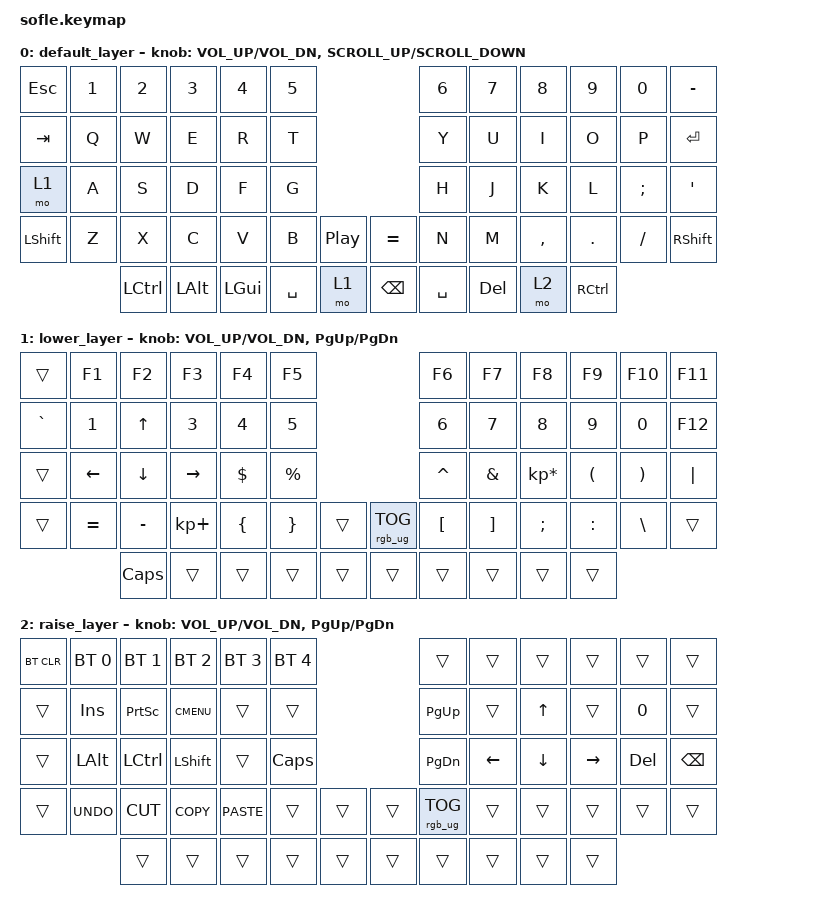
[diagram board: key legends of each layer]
/*
 * Copyright (c) 2020 The ZMK Contributors
 *
 * SPDX-License-Identifier: MIT
 */

#include <behaviors.dtsi>
#include <dt-bindings/zmk/bt.h>
#include <dt-bindings/zmk/keys.h>
#include <dt-bindings/zmk/rgb.h>

/ {
    keymap {
        compatible = "zmk,keymap";

        default_layer {
            // ------------------------------------------------------------------------------------------------------------
            // |  ESC  |  1  |  2  |  3   |  4   |  5   |                   |  6   |  7    |  8    |  9   |   0   |   -   |
            // |  TAB  |  Q  |  W  |  E   |  R   |  T   |                   |  Y   |  U    |  I    |  O   |   P   | ENTER |
            // | LCTRL |  A  |  S  |  D   |  F   |  G   |                   |  H   |  J    |  K    |  L   |   ;   |   '   |
            // | SHIFT |  Z  |  X  |  C   |  V   |  B   |  PLAY  |  |   =   |  N   |  M    |  ,    |  .   |   /   | SHIFT |
            //               | ALT | ALT  | GUI  | SPACE|  LOWER |  | BSPC  | SPACE|  DEL  | RAISE | RCTRL|

            bindings = <
&kp ESC    &kp N1  &kp N2            &kp N3    &kp N4    &kp N5                            &kp N6     &kp N7   &kp N8     &kp N9     &kp N0    &kp MINUS
&kp TAB    &kp Q   &kp W             &kp E     &kp R     &kp T                             &kp Y      &kp U    &kp I      &kp O      &kp P     &kp ENTER
&mo 1      &kp A   &kp S             &kp D     &kp F     &kp G                             &kp H      &kp J    &kp K      &kp L      &kp SEMI  &kp SQT
&kp LSHFT  &kp Z   &kp X             &kp C     &kp V     &kp B      &kp C_PP    &kp EQUAL  &kp N      &kp M    &kp COMMA  &kp DOT    &kp FSLH  &kp RSHFT
                   &kp LEFT_CONTROL  &kp LALT  &kp LGUI  &kp SPACE  &mo 1       &kp BSPC   &kp SPACE  &kp DEL  &mo 2      &kp RCTRL
            >;

            sensor-bindings =
                <&inc_dec_kp C_VOL_UP C_VOL_DN>,
                <&inc_dec_kp K_SCROLL_UP K_SCROLL_DOWN>;
        };

        lower_layer {
            // TODO: Some binds are waiting for shifted keycode support.
            // ------------------------------------------------------------------------------------------------------------
            // |       |  F1 |  F2 |  F3  |  F4  |  F5  |                   |  F6  |  F7   |  F8   |  F9  |  F10  |  F11  |
            // | `     |   1 |  ^  |   3  |   4  |   5  |                   |   6  |   7   |   8   |   9  |    0  |  F12  |
            // |       |  <- |  v  |  ->  |  $   |  %   |                   |  ^   |  &    |  *    |  (   |   )   |   |   |
            // |       |  =  |  -  |  +   |  {   |  }   |        |  |       |  [   |  ]    |  ;    |  :   |   \   |       |
            //               |CAPS |      |      |      |        |  |       |      |       |       |      |

            bindings = <
&trans     &kp F1     &kp F2     &kp F3       &kp F4    &kp F5                                &kp F6     &kp F7    &kp F8           &kp F9     &kp F10   &kp F11
&kp GRAVE  &kp N1     &kp UP     &kp N3       &kp N4    &kp N5                                &kp N6     &kp N7    &kp N8           &kp N9     &kp N0    &kp F12
&trans     &kp LEFT   &kp DOWN   &kp RIGHT    &kp DLLR  &kp PRCNT                             &kp CARET  &kp AMPS  &kp KP_MULTIPLY  &kp LPAR   &kp RPAR  &kp PIPE
&trans     &kp EQUAL  &kp MINUS  &kp KP_PLUS  &kp LBRC  &kp RBRC   &trans    &rgb_ug RGB_TOG  &kp LBKT   &kp RBKT  &kp SEMI         &kp COLON  &kp BSLH  &trans
                      &kp CAPS   &trans       &trans    &trans     &trans    &trans           &trans     &trans    &trans           &trans
            >;

            sensor-bindings = <&inc_dec_kp C_VOL_UP C_VOL_DN &inc_dec_kp PG_UP PG_DN>;
        };

        raise_layer {
            // ------------------------------------------------------------------------------------------------------------
            // |BTCLR| BT1  | BT2  |  BT3  |  BT4  |  BT5 |                |      |      |       |      |       |       |
            // |     | INS  | PSCR | GUI   |       |      |                | PGUP |      |   ^   |      |       |       |
            // |     | ALT  | CTRL | SHIFT |       | CAPS |                | PGDN |   <- |   v   |  ->  |  DEL  | BKSPC |
            // |     | UNDO | CUT  | COPY  | PASTE |      |      |  |      |      |      |       |      |       |       |
            //              |      |       |       |      |      |  |      |      |      |       |      |

            bindings = <
&bt BT_CLR  &bt BT_SEL 0  &bt BT_SEL 1  &bt BT_SEL 2  &bt BT_SEL 3  &bt BT_SEL 4                    &trans           &trans    &trans    &trans     &trans   &trans
&trans      &kp INS       &kp PSCRN     &kp K_CMENU   &trans        &trans                          &kp PG_UP        &trans    &kp UP    &trans     &kp N0   &trans
&trans      &kp LALT      &kp LCTRL     &kp LSHFT     &trans        &kp CLCK                        &kp PG_DN        &kp LEFT  &kp DOWN  &kp RIGHT  &kp DEL  &kp BSPC
&trans      &kp K_UNDO    &kp K_CUT     &kp K_COPY    &kp K_PASTE   &trans        &trans    &trans  &rgb_ug RGB_TOG  &trans    &trans    &trans     &trans   &trans
                          &trans        &trans        &trans        &trans        &trans    &trans  &trans           &trans    &trans    &trans
            >;

            sensor-bindings = <&inc_dec_kp C_VOL_UP C_VOL_DN &inc_dec_kp PG_UP PG_DN>;
        };
    };
};
